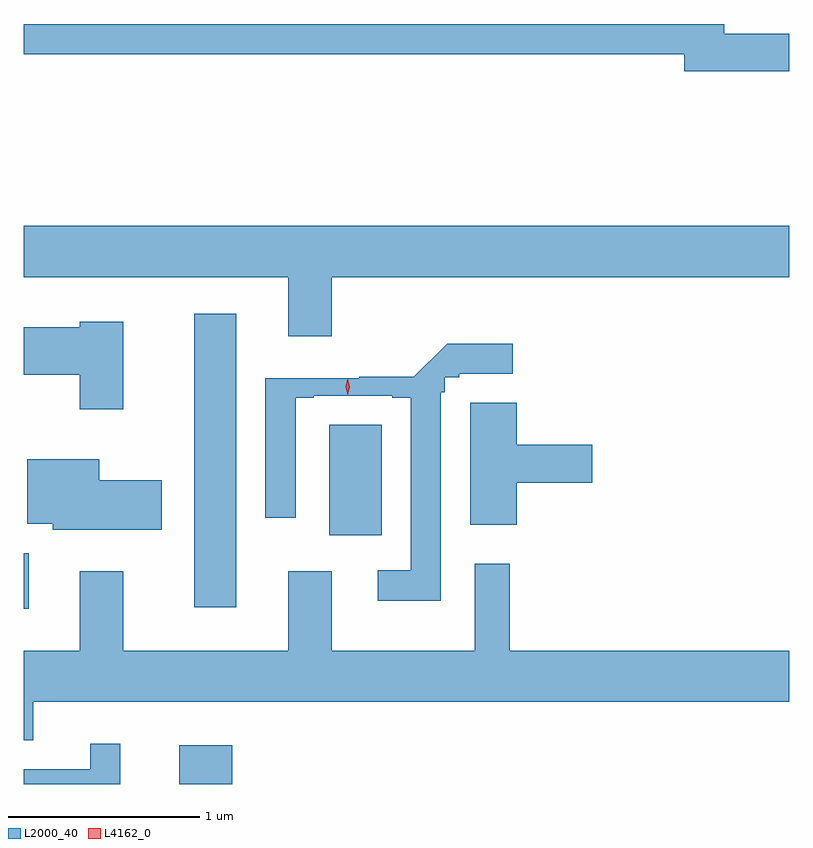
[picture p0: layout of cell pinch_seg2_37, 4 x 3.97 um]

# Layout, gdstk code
import gdstk
lib = gdstk.Library(unit=1e-6, precision=1e-09)
def R(c, l, rs):  # rectangles x0, y0, x1, y1
    for r in rs: c.add(gdstk.rectangle(r[:2], r[2:], *l))
def P(c, l, *ps):  # polygons
    for p in ps: c.add(gdstk.Polygon(p, *l))
L2000_40 = (2000, 40)
L4162_0 = (4162, 0)

pinch_seg2_37 = lib.new_cell('pinch_seg2_37')
R(pinch_seg2_37, L2000_40, [(1118.016,1094.507,1118.294,1094.709), (1117.204,1095.423,1117.229,1095.714), (1118.096,1095.431,1118.314,1096.964), (1118.801,1095.806,1119.074,1096.384)])
P(pinch_seg2_37, L2000_40, [(1121.204,1098.429),(1120.864,1098.429),(1120.864,1098.479),(1117.204,1098.479),(1117.204,1098.321),(1120.656,1098.321),(1120.656,1098.231),(1121.204,1098.231)],
  [(1118.814,1097.156),(1121.204,1097.156),(1121.204,1097.424),(1117.204,1097.424),(1117.204,1097.156),(1118.586,1097.156),(1118.586,1096.846),(1118.814,1096.846)],
  [(1117.724,1096.924),(1117.496,1096.924),(1117.496,1096.894),(1117.204,1096.894),(1117.204,1096.646),(1117.496,1096.646),(1117.496,1096.466),(1117.724,1096.466)],
  [(1119.384,1096.555),(1119.403,1096.555),(1119.403,1096.633),(1119.48,1096.633),(1119.48,1096.651),(1119.758,1096.651),(1119.758,1096.809),(1119.418,1096.809),(1119.322,1096.713),(1119.32,1096.715),(1119.241,1096.636),(1118.958,1096.636),(1118.958,1096.627),(1118.466,1096.627),(1118.466,1095.898),(1118.624,1095.898),(1118.624,1096.525),(1118.72,1096.525),(1118.72,1096.537),(1119.13,1096.537),(1119.13,1096.525),(1119.226,1096.525),(1119.226,1095.624),(1119.053,1095.624),(1119.053,1095.466),(1119.384,1095.466)],
  [(1119.779,1096.081),(1120.174,1096.081),(1120.174,1096.279),(1119.779,1096.279),(1119.779,1096.499),(1119.536,1096.499),(1119.536,1095.861),(1119.779,1095.861)],
  [(1117.924,1096.094),(1117.599,1096.094),(1117.599,1096.204),(1117.221,1096.204),(1117.221,1095.866),(1117.356,1095.866),(1117.356,1095.836),(1117.924,1095.836)],
  [(1117.254,1094.936),(1121.204,1094.936),(1121.204,1095.204),(1119.744,1095.204),(1119.744,1095.659),(1119.561,1095.659),(1119.561,1095.204),(1118.814,1095.204),(1118.814,1095.619),(1118.586,1095.619),(1118.586,1095.204),(1117.724,1095.204),(1117.724,1095.619),(1117.496,1095.619),(1117.496,1095.204),(1117.204,1095.204),(1117.204,1094.736),(1117.254,1094.736)],
  [(1117.709,1094.718),(1117.551,1094.718),(1117.551,1094.584),(1117.204,1094.584),(1117.204,1094.507),(1117.709,1094.507)])
P(pinch_seg2_37, L4162_0, [(1118.897,1096.537),(1118.896,1096.538),(1118.887,1096.582),(1118.896,1096.626),(1118.897,1096.627),(1118.898,1096.626),(1118.907,1096.582),(1118.898,1096.538)],
  [(1118.896,1096.544),(1118.896,1096.545),(1118.886,1096.582),(1118.894,1096.62),(1118.894,1096.621),(1118.895,1096.62),(1118.906,1096.583),(1118.897,1096.545)])

lib.write_gds('pinch_seg2_37.gds')
